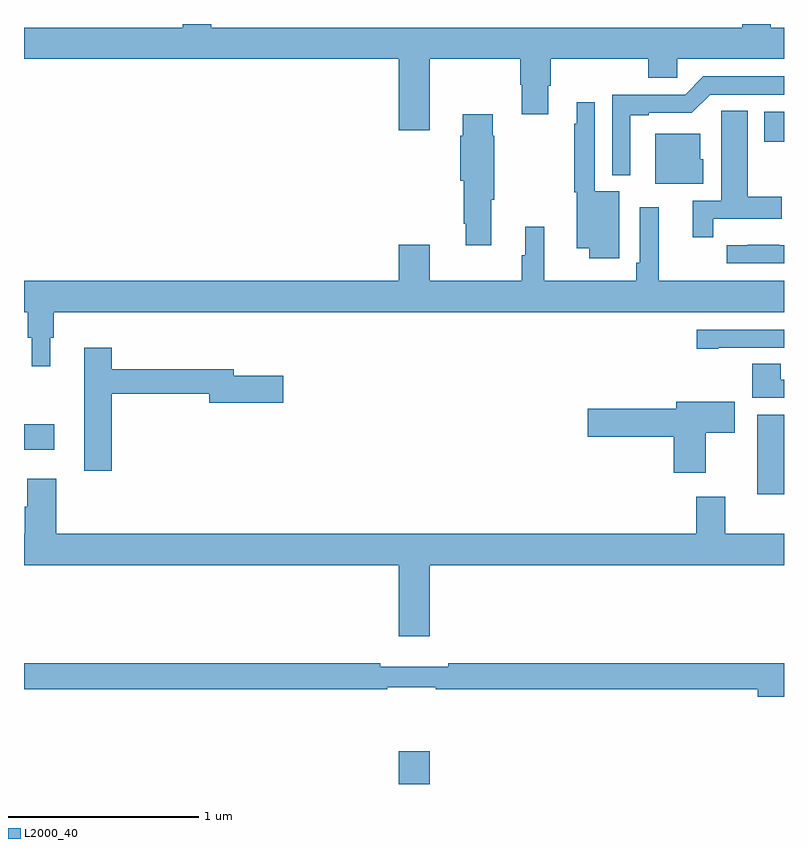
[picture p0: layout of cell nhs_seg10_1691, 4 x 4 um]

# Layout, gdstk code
import gdstk
lib = gdstk.Library(unit=1e-6, precision=1e-09)
def R(c, l, rs):  # rectangles x0, y0, x1, y1
    for r in rs: c.add(gdstk.rectangle(r[:2], r[2:], *l))
def P(c, l, *ps):  # polygons
    for p in ps: c.add(gdstk.Polygon(p, *l))
L2000_40 = (2000, 40)

nhs_seg10_1691 = lib.new_cell('nhs_seg10_1691')
R(nhs_seg10_1691, L2000_40, [(200.972,1296.5,201.136,1296.673), (202.859,1298.025,203,1298.443), (199,1298.258,199.159,1298.393), (202.895,1299.88,203,1300.039)])
P(nhs_seg10_1691, L2000_40, [(201.136,1300.316),(201.613,1300.316),(201.613,1300.179),(201.62,1300.179),(201.62,1300.026),(201.76,1300.026),(201.76,1300.174),(201.773,1300.174),(201.773,1300.316),(202.286,1300.316),(202.286,1300.218),(202.437,1300.218),(202.437,1300.316),(203,1300.316),(203,1300.48),(202.931,1300.48),(202.931,1300.5),(202.779,1300.5),(202.779,1300.48),(199.986,1300.48),(199.986,1300.5),(199.835,1300.5),(199.835,1300.48),(199,1300.48),(199,1300.316),(200.972,1300.316),(200.972,1299.942),(201.136,1299.942)],
  [(202.192,1300.02),(202.288,1300.02),(202.288,1300.032),(202.515,1300.032),(202.611,1300.128),(203,1300.128),(203,1300.224),(202.575,1300.224),(202.479,1300.128),(202.095,1300.128),(202.095,1299.704),(202.192,1299.704)],
  [(202.132,1299.619),(202.005,1299.619),(202.005,1300.087),(201.908,1300.087),(201.908,1299.974),(201.897,1299.974),(201.897,1299.615),(201.908,1299.615),(201.908,1299.32),(201.974,1299.32),(201.974,1299.267),(202.132,1299.267)],
  [(202.628,1299.474),(202.987,1299.474),(202.987,1299.591),(202.81,1299.591),(202.81,1300.043),(202.671,1300.043),(202.671,1299.932),(202.67,1299.932),(202.67,1299.57),(202.52,1299.57),(202.52,1299.378),(202.628,1299.378)],
  [(201.46,1299.575),(201.474,1299.575),(201.474,1299.911),(201.466,1299.911),(201.466,1300.024),(201.308,1300.024),(201.308,1299.911),(201.296,1299.911),(201.296,1299.675),(201.314,1299.675),(201.314,1299.448),(201.326,1299.448),(201.326,1299.336),(201.46,1299.336)],
  [(202.576,1299.789),(202.558,1299.789),(202.558,1299.922),(202.322,1299.922),(202.322,1299.659),(202.576,1299.659)],
  [(199.138,1298.85),(199.157,1298.85),(199.157,1298.984),(203,1298.984),(203,1299.148),(202.34,1299.148),(202.34,1299.535),(202.242,1299.535),(202.242,1299.244),(202.222,1299.244),(202.222,1299.148),(201.738,1299.148),(201.738,1299.433),(201.638,1299.433),(201.638,1299.282),(201.619,1299.282),(201.619,1299.148),(201.136,1299.148),(201.136,1299.337),(200.972,1299.337),(200.972,1299.148),(199,1299.148),(199,1298.984),(199.021,1298.984),(199.021,1298.85),(199.04,1298.85),(199.04,1298.7),(199.138,1298.7)],
  [(203,1299.336),(202.976,1299.336),(202.976,1299.337),(202.81,1299.337),(202.81,1299.336),(202.698,1299.336),(202.698,1299.24),(203,1299.24)],
  [(202.654,1298.796),(203,1298.796),(203,1298.892),(202.542,1298.892),(202.542,1298.791),(202.654,1298.791)],
  [(199.463,1298.554),(199.976,1298.554),(199.976,1298.507),(200.365,1298.507),(200.365,1298.649),(200.104,1298.649),(200.104,1298.683),(199.463,1298.683),(199.463,1298.797),(199.316,1298.797),(199.316,1298.148),(199.463,1298.148)],
  [(203,1298.628),(202.984,1298.628),(202.984,1298.711),(202.832,1298.711),(202.832,1298.532),(203,1298.532)],
  [(202.588,1298.35),(202.741,1298.35),(202.741,1298.512),(202.433,1298.512),(202.433,1298.474),(201.966,1298.474),(201.966,1298.327),(202.421,1298.327),(202.421,1298.139),(202.588,1298.139)],
  [(201.136,1297.652),(203,1297.652),(203,1297.816),(202.69,1297.816),(202.69,1298.011),(202.538,1298.011),(202.538,1297.816),(199.169,1297.816),(199.169,1298.107),(199.016,1298.107),(199.016,1297.958),(199.004,1297.958),(199.004,1297.816),(199,1297.816),(199,1297.652),(200.972,1297.652),(200.972,1297.278),(201.136,1297.278)],
  [(203,1297.136),(201.232,1297.136),(201.232,1297.117),(200.876,1297.117),(200.876,1297.136),(199,1297.136),(199,1297),(200.911,1297),(200.911,1297.008),(201.166,1297.008),(201.166,1297),(202.862,1297),(202.862,1296.958),(203,1296.958)])

lib.write_gds('nhs_seg10_1691.gds')
